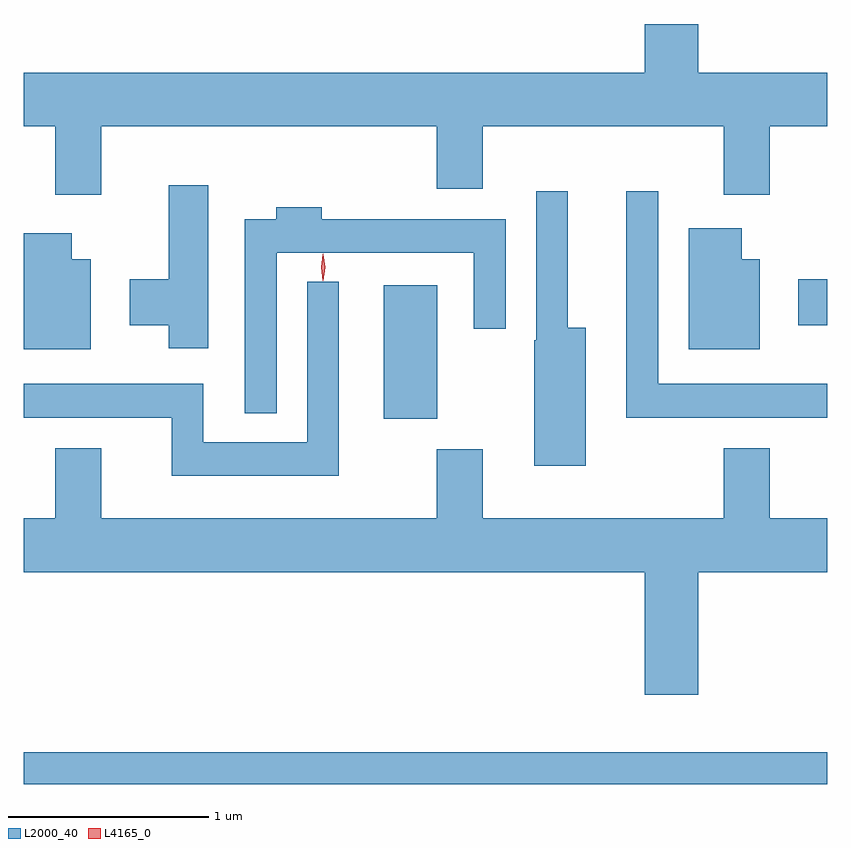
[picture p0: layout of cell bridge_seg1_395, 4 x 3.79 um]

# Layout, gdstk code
import gdstk
lib = gdstk.Library(unit=1e-6, precision=1e-09)
def R(c, l, rs):  # rectangles x0, y0, x1, y1
    for r in rs: c.add(gdstk.rectangle(r[:2], r[2:], *l))
def P(c, l, *ps):  # polygons
    for p in ps: c.add(gdstk.Polygon(p, *l))
L2000_40 = (2000, 40)
L4165_0 = (4165, 0)

bridge_seg1_395 = lib.new_cell('bridge_seg1_395')
R(bridge_seg1_395, L2000_40, [(571.625,940.701,575.625,940.859), (573.416,942.521,573.684,943.184), (575.481,942.986,575.625,943.214)])
P(bridge_seg1_395, L2000_40, [(572.009,943.976),(573.681,943.976),(573.681,943.666),(573.909,943.666),(573.909,943.976),(575.111,943.976),(575.111,943.636),(575.339,943.636),(575.339,943.976),(575.625,943.976),(575.625,944.244),(574.984,944.244),(574.984,944.486),(574.716,944.486),(574.716,944.244),(571.625,944.244),(571.625,943.976),(571.781,943.976),(571.781,943.636),(572.009,943.636)],
  [(572.544,943.684),(572.346,943.684),(572.346,943.214),(572.151,943.214),(572.151,942.986),(572.346,942.986),(572.346,942.871),(572.544,942.871)],
  [(574.424,942.974),(574.334,942.974),(574.334,943.653),(574.176,943.653),(574.176,942.91),(574.166,942.91),(574.166,942.286),(574.424,942.286)],
  [(575.625,942.694),(574.784,942.694),(574.784,943.653),(574.626,943.653),(574.626,942.526),(575.625,942.526)],
  [(572.884,943.346),(573.866,943.346),(573.866,942.968),(574.024,942.968),(574.024,943.514),(573.109,943.514),(573.109,943.574),(572.881,943.574),(572.881,943.514),(572.726,943.514),(572.726,942.548),(572.884,942.548)],
  [(575.289,943.314),(575.199,943.314),(575.199,943.469),(574.936,943.469),(574.936,942.866),(575.289,942.866)],
  [(571.959,943.314),(571.864,943.314),(571.864,943.444),(571.625,943.444),(571.625,942.866),(571.959,942.866)],
  [(573.194,943.203),(573.036,943.203),(573.036,942.404),(572.519,942.404),(572.519,942.694),(571.625,942.694),(571.625,942.526),(572.361,942.526),(572.361,942.236),(573.194,942.236)],
  [(574.984,941.756),(575.625,941.756),(575.625,942.024),(575.339,942.024),(575.339,942.374),(575.111,942.374),(575.111,942.024),(573.909,942.024),(573.909,942.369),(573.681,942.369),(573.681,942.024),(572.009,942.024),(572.009,942.374),(571.781,942.374),(571.781,942.024),(571.625,942.024),(571.625,941.756),(574.716,941.756),(574.716,941.146),(574.984,941.146)])
P(bridge_seg1_395, L4165_0, [(573.114,943.207),(573.105,943.274),(573.114,943.34),(573.115,943.341),(573.115,943.34),(573.125,943.274),(573.115,943.207),(573.115,943.207)])

lib.write_gds('bridge_seg1_395.gds')
